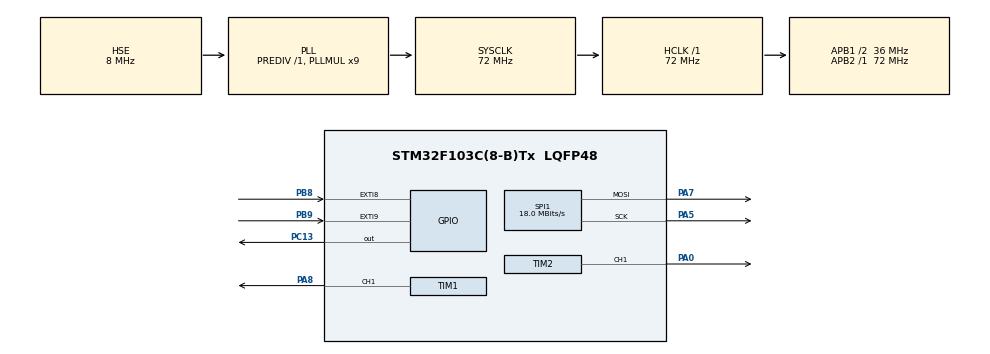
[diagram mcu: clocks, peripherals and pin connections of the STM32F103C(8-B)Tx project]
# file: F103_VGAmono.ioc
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Dma.Request0=SPI1_TX
Dma.SPI1_TX.0.Direction=DMA_MEMORY_TO_PERIPH
Dma.SPI1_TX.0.Instance=DMA1_Channel3
Dma.SPI1_TX.0.MemDataAlignment=DMA_MDATAALIGN_BYTE
Dma.SPI1_TX.0.MemInc=DMA_MINC_ENABLE
Dma.SPI1_TX.0.Mode=DMA_CIRCULAR
Dma.SPI1_TX.0.PeriphDataAlignment=DMA_PDATAALIGN_BYTE
Dma.SPI1_TX.0.PeriphInc=DMA_PINC_DISABLE
Dma.SPI1_TX.0.Priority=DMA_PRIORITY_VERY_HIGH
Mcu.Family=STM32F1
Mcu.Name=STM32F103C(8-B)Tx
Mcu.Package=LQFP48
NVIC.DMA1_Channel3_IRQn=true\:0\:0\:false\:false\:true\:false\:true\:true
NVIC.EXTI9_5_IRQn=true\:0\:0\:false\:false\:true\:true\:true\:true
NVIC.PriorityGroup=NVIC_PRIORITYGROUP_4
NVIC.TIM2_IRQn=true\:0\:0\:false\:false\:true\:true\:true\:true
NVIC.TIM4_IRQn=true\:0\:0\:false\:false\:true\:true\:true\:true
PA0-WKUP.Signal=S_TIM2_CH1_ETR
PA13.Mode=Serial_Wire
PA13.Signal=SYS_JTMS-SWDIO
PA14.Mode=Serial_Wire
PA14.Signal=SYS_JTCK-SWCLK
PA5.Mode=TX_Only_Simplex_Unidirect_Master
PA5.Signal=SPI1_SCK
PA7.Mode=TX_Only_Simplex_Unidirect_Master
PA7.Signal=SPI1_MOSI
PA8.Signal=S_TIM1_CH1
PB8.GPIO_PuPd=GPIO_PULLUP
PB8.Signal=GPXTI8
PB9.GPIO_PuPd=GPIO_PULLUP
PB9.Signal=GPXTI9
PC13-TAMPER-RTC.Signal=GPIO_Output
PD0-OSC_IN.Mode=HSE-External-Oscillator
PD0-OSC_IN.Signal=RCC_OSC_IN
PD1-OSC_OUT.Mode=HSE-External-Oscillator
PD1-OSC_OUT.Signal=RCC_OSC_OUT
ProjectManager.HeapSize=0x200
ProjectManager.StackSize=0x400
ProjectManager.TargetToolchain=STM32CubeIDE
RCC.AHBFreq_Value=72000000
RCC.APB1CLKDivider=RCC_HCLK_DIV2
RCC.APB1Freq_Value=36000000
RCC.APB1TimFreq_Value=72000000
RCC.APB2Freq_Value=72000000
RCC.APB2TimFreq_Value=72000000
RCC.HCLKFreq_Value=72000000
RCC.PLLMUL=RCC_PLL_MUL9
RCC.PLLSourceVirtual=RCC_PLLSOURCE_HSE
RCC.SYSCLKFreq_VALUE=72000000
RCC.SYSCLKSource=RCC_SYSCLKSOURCE_PLLCLK
RCC.USBFreq_Value=72000000
SH.S_TIM1_CH1.0=TIM1_CH1,PWM Generation1 CH1
SH.S_TIM2_CH1_ETR.0=TIM2_CH1,PWM Generation1 CH1
SPI1.BaudRatePrescaler=SPI_BAUDRATEPRESCALER_4
SPI1.CalculateBaudRate=18.0 MBits/s
SPI1.Direction=SPI_DIRECTION_2LINES
SPI1.Mode=SPI_MODE_MASTER
SPI1.VirtualType=VM_MASTER
TIM1.AutoReloadPreload=TIM_AUTORELOAD_PRELOAD_ENABLE
TIM1.Channel-PWM\ Generation1\ CH1=TIM_CHANNEL_1
TIM1.OCMode_PWM-PWM\ Generation1\ CH1=TIM_OCMODE_PWM1
TIM1.OCPolarity_1=TIM_OCPOLARITY_HIGH
TIM1.Period=1024-1
TIM1.Prescaler=2-1
TIM1.Pulse-PWM\ Generation1\ CH1=72
TIM1.TIM_MasterOutputTrigger=TIM_TRGO_UPDATE
TIM2.AutoReloadPreload=TIM_AUTORELOAD_PRELOAD_ENABLE
TIM2.Channel-PWM\ Generation1\ CH1=TIM_CHANNEL_1
TIM2.Period=625-1
TIM2.Prescaler=0
TIM2.Pulse-PWM\ Generation1\ CH1=2
TIM2.TIM_MasterOutputTrigger=TIM_TRGO_UPDATE
TIM2.TIM_MasterSlaveMode=TIM_MASTERSLAVEMODE_DISABLE
TIM4.AutoReloadPreload=TIM_AUTORELOAD_PRELOAD_ENABLE
TIM4.Period=16182
TIM4.Prescaler=2-1
TIM4.TIM_MasterSlaveMode=TIM_MASTERSLAVEMODE_DISABLE
VP_TIM1_VS_ClockSourceINT.Mode=Internal
VP_TIM2_VS_ClockSourceITR.Mode=TriggerSource_ITR0
VP_TIM2_VS_ControllerModeClock.Mode=Clock Mode
VP_TIM4_VS_ClockSourceINT.Mode=Internal
VP_TIM4_VS_ClockSourceITR.Mode=TriggerSource_ITR1
VP_TIM4_VS_ControllerModeReset.Mode=Reset Mode
board=custom

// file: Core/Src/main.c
/* USER CODE BEGIN Header */
/**
  ******************************************************************************
  * @file           : main.c
  * @brief          : Main program body
  ******************************************************************************
  * @attention
  *
  * Copyright (c) 2023 STMicroelectronics.
  * All rights reserved.
  *
  * This software is licensed under terms that can be found in the LICENSE file
  * in the root directory of this software component.
  * If no LICENSE file comes with this software, it is provided AS-IS.
  *
  ******************************************************************************
  */
/* USER CODE END Header */
#include "main.h"

/* USER CODE BEGIN Includes */
#include <stdio.h>
#include <stdlib.h>
#include <string.h>
#include "vgamono.h"
/* USER CODE END Includes */

SPI_HandleTypeDef hspi1;
DMA_HandleTypeDef hdma_spi1_tx;

TIM_HandleTypeDef htim1;
TIM_HandleTypeDef htim2;
TIM_HandleTypeDef htim4;

/* USER CODE BEGIN PV */
uint16_t VOFFSET=0,preVoffset=16183;
uint16_t line=0;
uint16_t firstTrig=1;
uint16_t vga_voff[4];

/* USER CODE END PV */

void SystemClock_Config(void);
static void MX_GPIO_Init(void);
static void MX_DMA_Init(void);
static void MX_TIM1_Init(void);
static void MX_TIM2_Init(void);
static void MX_SPI1_Init(void);
static void MX_TIM4_Init(void);

/* USER CODE BEGIN 0 */
void VGA_update(){
	vga_voff[0]=VOFFSET;
	for(int i=1;i<4;i++){
		vga_voff[i]=vga_voff[i-1]+VGA_LBUFFERSIZE;
	}
	TIM4->ARR = preVoffset;
}

//Horizontal adjustment
char tmp[32];
void HAL_GPIO_EXTI_Callback (uint16_t GPIO_Pin){
	if(GPIO_Pin==GPIO_PIN_8){
		if(preVoffset>0)preVoffset-=1;
	}
	else if(GPIO_Pin==GPIO_PIN_9){
		if(preVoffset<60000)
		preVoffset+=1;
	}
	//Horizontal Line adjustment
	VGA_update();
	sprintf(tmp,"%d|%d",preVoffset,VOFFSET);
	SetCursor(3,50);
	WriteString(tmp,Font_7x10,VGA_WHITE);
}

void HAL_TIM_PeriodElapsedCallback(TIM_HandleTypeDef* htim)
{
	if(htim==&htim2){
		line=0;
		firstTrig=1; //
	}
	if(htim==&htim4){
		if(firstTrig){
			firstTrig=0;
		}else{
			if(line==0)
		        HAL_SPI_Transmit_DMA(&hspi1,VGA_obuffer,VGA_FULL);
		}
	}
}

void HAL_SPI_TxHalfCpltCallback(SPI_HandleTypeDef *hspi){
     //fill in line1
	if(line<VGA_VBUFFER){
	    memcpy(VGA_obuffer + vga_voff[0],VGA_buffer[line],VGA_LBUFFER);
	    memcpy(VGA_obuffer + vga_voff[1],VGA_buffer[line],VGA_LBUFFER);
	}
	line++;
	if(line==VGA_VBUFFER){
		HAL_SPI_DMAStop(&hspi1);
		memset(VGA_obuffer,0x0,VGA_FULL);
	}
}

void HAL_SPI_TxCpltCallback(SPI_HandleTypeDef *hspi){
    //fill in line2 (later half)
	if(line<VGA_VBUFFER){
	    memcpy(VGA_obuffer + vga_voff[2],VGA_buffer[line],VGA_LBUFFER);
   	    memcpy(VGA_obuffer + vga_voff[3],VGA_buffer[line],VGA_LBUFFER);
	}
	line++;
	if(line==VGA_VBUFFER){
		HAL_SPI_DMAStop(&hspi1);
		memset(VGA_obuffer,0x0,VGA_FULL);
	}
}
/* USER CODE END 0 */

int main(void)
{

  /* MCU Configuration--------------------------------------------------------*/

  /* Reset of all peripherals, Initializes the Flash interface and the Systick. */
  HAL_Init();

  /* Configure the system clock */
  SystemClock_Config();

  /* Initialize all configured peripherals */
  MX_GPIO_Init();
  MX_DMA_Init();
  MX_TIM1_Init();
  MX_TIM2_Init();
  MX_SPI1_Init();
  MX_TIM4_Init();
  /* USER CODE BEGIN 2 */
  //H-sync
  HAL_TIM_Base_Start_IT(&htim1);
  HAL_TIM_PWM_Start(&htim1,TIM_CHANNEL_1);
  //V-sync
  HAL_TIM_Base_Start_IT(&htim2);
  HAL_TIM_PWM_Start(&htim2,TIM_CHANNEL_1);
  //Delay before drawing the first pixel for each frame
  HAL_TIM_Base_Start_IT(&htim4);

  VGA_update();
  ClearScreen(VGA_BLACK);
  DrawRectangle(0,0,VGA_WIDTH-1,VGA_HEIGHT-1,VGA_WHITE);

  char msg[32]="Testing";
  SetCursor(3,3);
  WriteString(msg,Font_7x10,VGA_WHITE);
  /* USER CODE END 2 */

  /* Infinite loop */
  /* USER CODE BEGIN WHILE */
  int r,x,y,z=0;
  while (1)
  {
	  r = rand()%50;
	  x = rand()%VGA_WIDTH;
	  y = rand()%VGA_HEIGHT;
	  DrawCircle(x,y,r,VGA_WHITE);
	  z=z+1;
	  if(z>=100){
		  z=0;
		  ClearScreen(VGA_BLACK);
		  DrawRectangle(0,0,VGA_WIDTH-1,VGA_HEIGHT-1,VGA_WHITE);
		  SetCursor(3,3);
		  WriteString(msg,Font_7x10,VGA_WHITE);
	  }
	  HAL_Delay(100);
    /* USER CODE END WHILE */

  }
}

void SystemClock_Config(void)
{
  RCC_OscInitTypeDef RCC_OscInitStruct = {0};
  RCC_ClkInitTypeDef RCC_ClkInitStruct = {0};

  /** Initializes the RCC Oscillators according to the specified parameters
  * in the RCC_OscInitTypeDef structure.
  */
  RCC_OscInitStruct.OscillatorType = RCC_OSCILLATORTYPE_HSE;
  RCC_OscInitStruct.HSEState = RCC_HSE_ON;
  RCC_OscInitStruct.HSEPredivValue = RCC_HSE_PREDIV_DIV1;
  RCC_OscInitStruct.HSIState = RCC_HSI_ON;
  RCC_OscInitStruct.PLL.PLLState = RCC_PLL_ON;
  RCC_OscInitStruct.PLL.PLLSource = RCC_PLLSOURCE_HSE;
  RCC_OscInitStruct.PLL.PLLMUL = RCC_PLL_MUL9;
  if (HAL_RCC_OscConfig(&RCC_OscInitStruct) != HAL_OK)
  {
    Error_Handler();
  }

  /** Initializes the CPU, AHB and APB buses clocks
  */
  RCC_ClkInitStruct.ClockType = RCC_CLOCKTYPE_HCLK|RCC_CLOCKTYPE_SYSCLK
                              |RCC_CLOCKTYPE_PCLK1|RCC_CLOCKTYPE_PCLK2;
  RCC_ClkInitStruct.SYSCLKSource = RCC_SYSCLKSOURCE_PLLCLK;
  RCC_ClkInitStruct.AHBCLKDivider = RCC_SYSCLK_DIV1;
  RCC_ClkInitStruct.APB1CLKDivider = RCC_HCLK_DIV2;
  RCC_ClkInitStruct.APB2CLKDivider = RCC_HCLK_DIV1;

  if (HAL_RCC_ClockConfig(&RCC_ClkInitStruct, FLASH_LATENCY_2) != HAL_OK)
  {
    Error_Handler();
  }
}

static void MX_SPI1_Init(void)
{

  /* SPI1 parameter configuration*/
  hspi1.Instance = SPI1;
  hspi1.Init.Mode = SPI_MODE_MASTER;
  hspi1.Init.Direction = SPI_DIRECTION_2LINES;
  hspi1.Init.DataSize = SPI_DATASIZE_8BIT;
  hspi1.Init.CLKPolarity = SPI_POLARITY_LOW;
  hspi1.Init.CLKPhase = SPI_PHASE_1EDGE;
  hspi1.Init.NSS = SPI_NSS_SOFT;
  hspi1.Init.BaudRatePrescaler = SPI_BAUDRATEPRESCALER_4;
  hspi1.Init.FirstBit = SPI_FIRSTBIT_MSB;
  hspi1.Init.TIMode = SPI_TIMODE_DISABLE;
  hspi1.Init.CRCCalculation = SPI_CRCCALCULATION_DISABLE;
  hspi1.Init.CRCPolynomial = 10;
  if (HAL_SPI_Init(&hspi1) != HAL_OK)
  {
    Error_Handler();
  }

}

static void MX_TIM1_Init(void)
{

  TIM_ClockConfigTypeDef sClockSourceConfig = {0};
  TIM_MasterConfigTypeDef sMasterConfig = {0};
  TIM_OC_InitTypeDef sConfigOC = {0};
  TIM_BreakDeadTimeConfigTypeDef sBreakDeadTimeConfig = {0};

  htim1.Instance = TIM1;
  htim1.Init.Prescaler = 2-1;
  htim1.Init.CounterMode = TIM_COUNTERMODE_UP;
  htim1.Init.Period = 1024-1;
  htim1.Init.ClockDivision = TIM_CLOCKDIVISION_DIV1;
  htim1.Init.RepetitionCounter = 0;
  htim1.Init.AutoReloadPreload = TIM_AUTORELOAD_PRELOAD_ENABLE;
  if (HAL_TIM_Base_Init(&htim1) != HAL_OK)
  {
    Error_Handler();
  }
  sClockSourceConfig.ClockSource = TIM_CLOCKSOURCE_INTERNAL;
  if (HAL_TIM_ConfigClockSource(&htim1, &sClockSourceConfig) != HAL_OK)
  {
    Error_Handler();
  }
  if (HAL_TIM_PWM_Init(&htim1) != HAL_OK)
  {
    Error_Handler();
  }
  sMasterConfig.MasterOutputTrigger = TIM_TRGO_UPDATE;
  sMasterConfig.MasterSlaveMode = TIM_MASTERSLAVEMODE_DISABLE;
  if (HAL_TIMEx_MasterConfigSynchronization(&htim1, &sMasterConfig) != HAL_OK)
  {
    Error_Handler();
  }
  sConfigOC.OCMode = TIM_OCMODE_PWM1;
  sConfigOC.Pulse = 72;
  sConfigOC.OCPolarity = TIM_OCPOLARITY_HIGH;
  sConfigOC.OCNPolarity = TIM_OCNPOLARITY_HIGH;
  sConfigOC.OCFastMode = TIM_OCFAST_DISABLE;
  sConfigOC.OCIdleState = TIM_OCIDLESTATE_RESET;
  sConfigOC.OCNIdleState = TIM_OCNIDLESTATE_RESET;
  if (HAL_TIM_PWM_ConfigChannel(&htim1, &sConfigOC, TIM_CHANNEL_1) != HAL_OK)
  {
    Error_Handler();
  }
  sBreakDeadTimeConfig.OffStateRunMode = TIM_OSSR_DISABLE;
  sBreakDeadTimeConfig.OffStateIDLEMode = TIM_OSSI_DISABLE;
  sBreakDeadTimeConfig.LockLevel = TIM_LOCKLEVEL_OFF;
  sBreakDeadTimeConfig.DeadTime = 0;
  sBreakDeadTimeConfig.BreakState = TIM_BREAK_DISABLE;
  sBreakDeadTimeConfig.BreakPolarity = TIM_BREAKPOLARITY_HIGH;
  sBreakDeadTimeConfig.AutomaticOutput = TIM_AUTOMATICOUTPUT_DISABLE;
  if (HAL_TIMEx_ConfigBreakDeadTime(&htim1, &sBreakDeadTimeConfig) != HAL_OK)
  {
    Error_Handler();
  }
  HAL_TIM_MspPostInit(&htim1);

}

static void MX_TIM2_Init(void)
{

  TIM_SlaveConfigTypeDef sSlaveConfig = {0};
  TIM_MasterConfigTypeDef sMasterConfig = {0};
  TIM_OC_InitTypeDef sConfigOC = {0};

  htim2.Instance = TIM2;
  htim2.Init.Prescaler = 0;
  htim2.Init.CounterMode = TIM_COUNTERMODE_UP;
  htim2.Init.Period = 625-1;
  htim2.Init.ClockDivision = TIM_CLOCKDIVISION_DIV1;
  htim2.Init.AutoReloadPreload = TIM_AUTORELOAD_PRELOAD_ENABLE;
  if (HAL_TIM_Base_Init(&htim2) != HAL_OK)
  {
    Error_Handler();
  }
  if (HAL_TIM_PWM_Init(&htim2) != HAL_OK)
  {
    Error_Handler();
  }
  sSlaveConfig.SlaveMode = TIM_SLAVEMODE_EXTERNAL1;
  sSlaveConfig.InputTrigger = TIM_TS_ITR0;
  if (HAL_TIM_SlaveConfigSynchro(&htim2, &sSlaveConfig) != HAL_OK)
  {
    Error_Handler();
  }
  sMasterConfig.MasterOutputTrigger = TIM_TRGO_UPDATE;
  sMasterConfig.MasterSlaveMode = TIM_MASTERSLAVEMODE_DISABLE;
  if (HAL_TIMEx_MasterConfigSynchronization(&htim2, &sMasterConfig) != HAL_OK)
  {
    Error_Handler();
  }
  sConfigOC.OCMode = TIM_OCMODE_PWM1;
  sConfigOC.Pulse = 2;
  sConfigOC.OCPolarity = TIM_OCPOLARITY_HIGH;
  sConfigOC.OCFastMode = TIM_OCFAST_DISABLE;
  if (HAL_TIM_PWM_ConfigChannel(&htim2, &sConfigOC, TIM_CHANNEL_1) != HAL_OK)
  {
    Error_Handler();
  }
  HAL_TIM_MspPostInit(&htim2);

}

static void MX_TIM4_Init(void)
{

  TIM_ClockConfigTypeDef sClockSourceConfig = {0};
  TIM_SlaveConfigTypeDef sSlaveConfig = {0};
  TIM_MasterConfigTypeDef sMasterConfig = {0};

  htim4.Instance = TIM4;
  htim4.Init.Prescaler = 2-1;
  htim4.Init.CounterMode = TIM_COUNTERMODE_UP;
  htim4.Init.Period = 16182;
  htim4.Init.ClockDivision = TIM_CLOCKDIVISION_DIV1;
  htim4.Init.AutoReloadPreload = TIM_AUTORELOAD_PRELOAD_ENABLE;
  if (HAL_TIM_Base_Init(&htim4) != HAL_OK)
  {
    Error_Handler();
  }
  sClockSourceConfig.ClockSource = TIM_CLOCKSOURCE_INTERNAL;
  if (HAL_TIM_ConfigClockSource(&htim4, &sClockSourceConfig) != HAL_OK)
  {
    Error_Handler();
  }
  sSlaveConfig.SlaveMode = TIM_SLAVEMODE_RESET;
  sSlaveConfig.InputTrigger = TIM_TS_ITR1;
  if (HAL_TIM_SlaveConfigSynchro(&htim4, &sSlaveConfig) != HAL_OK)
  {
    Error_Handler();
  }
  sMasterConfig.MasterOutputTrigger = TIM_TRGO_RESET;
  sMasterConfig.MasterSlaveMode = TIM_MASTERSLAVEMODE_DISABLE;
  if (HAL_TIMEx_MasterConfigSynchronization(&htim4, &sMasterConfig) != HAL_OK)
  {
    Error_Handler();
  }

}

static void MX_DMA_Init(void)
{

  /* DMA controller clock enable */
  __HAL_RCC_DMA1_CLK_ENABLE();

  /* DMA interrupt init */
  /* DMA1_Channel3_IRQn interrupt configuration */
  HAL_NVIC_SetPriority(DMA1_Channel3_IRQn, 0, 0);
  HAL_NVIC_EnableIRQ(DMA1_Channel3_IRQn);

}

static void MX_GPIO_Init(void)
{
  GPIO_InitTypeDef GPIO_InitStruct = {0};

  /* GPIO Ports Clock Enable */
  __HAL_RCC_GPIOC_CLK_ENABLE();
  __HAL_RCC_GPIOD_CLK_ENABLE();
  __HAL_RCC_GPIOA_CLK_ENABLE();
  __HAL_RCC_GPIOB_CLK_ENABLE();

  /*Configure GPIO pin Output Level */
  HAL_GPIO_WritePin(GPIOC, GPIO_PIN_13, GPIO_PIN_RESET);

  /*Configure GPIO pin : PC13 */
  GPIO_InitStruct.Pin = GPIO_PIN_13;
  GPIO_InitStruct.Mode = GPIO_MODE_OUTPUT_PP;
  GPIO_InitStruct.Pull = GPIO_NOPULL;
  GPIO_InitStruct.Speed = GPIO_SPEED_FREQ_LOW;
  HAL_GPIO_Init(GPIOC, &GPIO_InitStruct);

  /*Configure GPIO pins : PB8 PB9 */
  GPIO_InitStruct.Pin = GPIO_PIN_8|GPIO_PIN_9;
  GPIO_InitStruct.Mode = GPIO_MODE_IT_RISING;
  GPIO_InitStruct.Pull = GPIO_PULLUP;
  HAL_GPIO_Init(GPIOB, &GPIO_InitStruct);

  /* EXTI interrupt init*/
  HAL_NVIC_SetPriority(EXTI9_5_IRQn, 0, 0);
  HAL_NVIC_EnableIRQ(EXTI9_5_IRQn);

}

void Error_Handler(void)
{
  __disable_irq();
  while (1)
  {
  }
}
